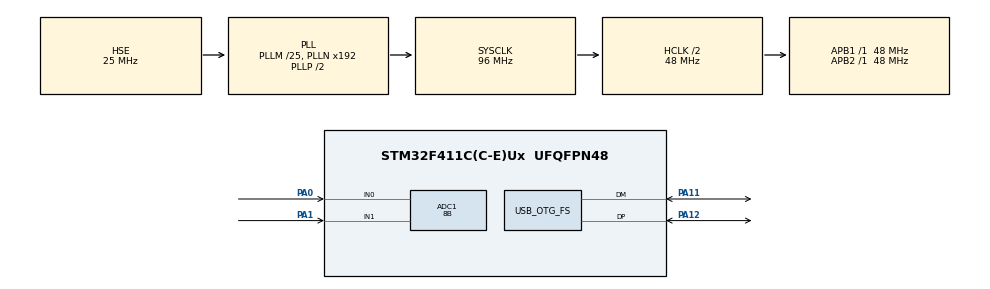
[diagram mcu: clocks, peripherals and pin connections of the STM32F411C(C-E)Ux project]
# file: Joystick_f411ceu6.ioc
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ADC1.Channel-0\#ChannelRegularConversion=ADC_CHANNEL_0
ADC1.Channel-1\#ChannelRegularConversion=ADC_CHANNEL_1
ADC1.ClockPrescaler=ADC_CLOCK_SYNC_PCLK_DIV8
ADC1.ContinuousConvMode=ENABLE
ADC1.DMAContinuousRequests=ENABLE
ADC1.EOCSelection=ADC_EOC_SEQ_CONV
ADC1.NbrOfConversion=2
ADC1.NbrOfConversionFlag=1
ADC1.Rank-0\#ChannelRegularConversion=1
ADC1.Rank-1\#ChannelRegularConversion=2
ADC1.Resolution=ADC_RESOLUTION_8B
ADC1.SamplingTime-0\#ChannelRegularConversion=ADC_SAMPLETIME_480CYCLES
ADC1.SamplingTime-1\#ChannelRegularConversion=ADC_SAMPLETIME_480CYCLES
ADC1.ScanConvMode=ENABLE
ADC1.master=1
Dma.ADC1.0.Direction=DMA_PERIPH_TO_MEMORY
Dma.ADC1.0.FIFOMode=DMA_FIFOMODE_DISABLE
Dma.ADC1.0.Instance=DMA2_Stream0
Dma.ADC1.0.MemDataAlignment=DMA_MDATAALIGN_BYTE
Dma.ADC1.0.MemInc=DMA_MINC_ENABLE
Dma.ADC1.0.Mode=DMA_CIRCULAR
Dma.ADC1.0.PeriphDataAlignment=DMA_PDATAALIGN_BYTE
Dma.ADC1.0.PeriphInc=DMA_PINC_DISABLE
Dma.ADC1.0.Priority=DMA_PRIORITY_LOW
Dma.Request0=ADC1
Mcu.Family=STM32F4
Mcu.Name=STM32F411C(C-E)Ux
Mcu.Package=UFQFPN48
NVIC.DMA2_Stream0_IRQn=true\:0\:0\:false\:false\:true\:false\:true\:true
NVIC.OTG_FS_IRQn=true\:0\:0\:false\:false\:true\:false\:true\:true
NVIC.PriorityGroup=NVIC_PRIORITYGROUP_4
PA0-WKUP.Signal=ADCx_IN0
PA1.Signal=ADCx_IN1
PA11.Mode=Device_Only
PA11.Signal=USB_OTG_FS_DM
PA12.Mode=Device_Only
PA12.Signal=USB_OTG_FS_DP
PA13.Mode=Serial_Wire
PA13.Signal=SYS_JTMS-SWDIO
PA14.Mode=Serial_Wire
PA14.Signal=SYS_JTCK-SWCLK
PH0\ -\ OSC_IN.Mode=HSE-External-Oscillator
PH0\ -\ OSC_IN.Signal=RCC_OSC_IN
PH1\ -\ OSC_OUT.Mode=HSE-External-Oscillator
PH1\ -\ OSC_OUT.Signal=RCC_OSC_OUT
ProjectManager.HeapSize=0x200
ProjectManager.StackSize=0x400
ProjectManager.TargetToolchain=STM32CubeIDE
RCC.48MHZClocksFreq_Value=48000000
RCC.AHBCLKDivider=RCC_SYSCLK_DIV2
RCC.AHBFreq_Value=48000000
RCC.APB1Freq_Value=48000000
RCC.APB1TimFreq_Value=48000000
RCC.APB2Freq_Value=48000000
RCC.APB2TimFreq_Value=48000000
RCC.CortexFreq_Value=48000000
RCC.HCLKFreq_Value=48000000
RCC.HSE_VALUE=25000000
RCC.HSI_VALUE=16000000
RCC.LSE_VALUE=32768
RCC.PLLM=25
RCC.SYSCLKFreq_VALUE=96000000
RCC.SYSCLKSource=RCC_SYSCLKSOURCE_PLLCLK
RCC.VCOOutputFreq_Value=192000000
SH.ADCx_IN0.0=ADC1_IN0,IN0
SH.ADCx_IN1.0=ADC1_IN1,IN1
USB_DEVICE.CLASS_NAME_FS=HID
USB_DEVICE.VirtualMode=Hid
USB_DEVICE.VirtualModeFS=Hid_FS
USB_OTG_FS.VirtualMode=Device_Only
VP_USB_DEVICE_VS_USB_DEVICE_HID_FS.Mode=HID_FS
board=custom

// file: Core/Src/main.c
/* USER CODE BEGIN Header */
/**
  ******************************************************************************
  * @file           : main.c
  * @brief          : Main program body
  ******************************************************************************
  * @attention
  *
  * Copyright (c) 2026 STMicroelectronics.
  * All rights reserved.
  *
  * This software is licensed under terms that can be found in the LICENSE file
  * in the root directory of this software component.
  * If no LICENSE file comes with this software, it is provided AS-IS.
  *
  ******************************************************************************
  */
/* USER CODE END Header */
#include "main.h"
#include "usb_device.h"

/* USER CODE BEGIN Includes */
#include "usbd_hid.h"
/* USER CODE END Includes */

/* USER CODE BEGIN PD */
//#define HID_MOUSE_REPORT_DESC_SIZE    43U
//#define HID_EPIN_SIZE                 0x03U
#define CENTER_X       125  // ~1.5V on 8-bit ADC (Adjust using Live Expressions)
#define CENTER_Y       125  // ~1.5V on 8-bit ADC (Adjust using Live Expressions)
#define DEADZONE       20   // Ignore movements smaller than this to prevent drift
#define SPEED_DIVIDER  6

/* USER CODE END PD */

ADC_HandleTypeDef hadc1;
DMA_HandleTypeDef hdma_adc1;

void SystemClock_Config(void);
static void MX_GPIO_Init(void);
static void MX_DMA_Init(void);
static void MX_ADC1_Init(void);

/* USER CODE BEGIN 0 */
extern USBD_HandleTypeDef hUsbDeviceFS;
uint8_t HID_Buffer[4] = {127, 127, 0};
uint8_t ADC_Val[2];
uint8_t Mouse_Buffer[3];
/* ADC DMA complete callback */
void HAL_ADC_ConvCpltCallback(ADC_HandleTypeDef *hadc)
{
	if (hadc->Instance == ADC1)
	{
		HID_Buffer[0] = 1;                    // REPORT ID 1 (Gamepad)
		HID_Buffer[1] = (255 - ADC_Val[0]);   // X axis
		HID_Buffer[2] = ADC_Val[1];           // Y axis
		HID_Buffer[3] = 0;                    // No button used, keep at 0
	}
}

void HID_Send_Gamepad(uint8_t x_val, uint8_t y_val, uint8_t button)
{
    uint8_t report[4]; // 4 bytes now
    report[0] = 1;       // Report ID 1
    report[1] = (255 - ADC_Val[0]);
    report[2] = ADC_Val[1];
    report[3] = button;

    USBD_HID_SendReport(&hUsbDeviceFS, report, 4);
}

void HID_Send_Mouse(int8_t dx, int8_t dy, uint8_t buttons)
{
    uint8_t report[5]; // 5 bytes
    report[0] = 2;       // Report ID 2
    report[1] = buttons;
    report[2] = (255 - ADC_Val[0]);//(uint8_t)dx;
    report[3] = ADC_Val[1];//(uint8_t)dy;
    report[4] = 0;       // Wheel

    USBD_HID_SendReport(&hUsbDeviceFS, report, 5);
}
/* USER CODE END 0 */

int main(void)
{

  /* MCU Configuration--------------------------------------------------------*/

  /* Reset of all peripherals, Initializes the Flash interface and the Systick. */
  HAL_Init();

  /* Configure the system clock */
  SystemClock_Config();

  /* Initialize all configured peripherals */
  MX_GPIO_Init();
  MX_DMA_Init();
  MX_ADC1_Init();
  MX_USB_DEVICE_Init();
  /* USER CODE BEGIN 2 */
//  int x=0,y=250;
  /* Start ADC in DMA mode — 2 conversions */
  HAL_ADC_Start_DMA(&hadc1, (uint32_t *)ADC_Val, 2);
  uint32_t last_usb_time = 0;
  /* USER CODE END 2 */

  /* Infinite loop */
  while (1)
  {

    /* USER CODE BEGIN 3 */

	  if (HAL_GetTick() - last_usb_time >= 10)
	  {
		  last_usb_time = HAL_GetTick();

		  // SAFETY CHECK: If ADC reads 0, DMA is not transferring! Stop mouse movement.
		  if (ADC_Val[0] == 0 && ADC_Val[1] == 0)
		  {
			  Mouse_Buffer[0] = 0;
			  Mouse_Buffer[1] = 0;
			  Mouse_Buffer[2] = 0;
			  USBD_HID_SendReport(&hUsbDeviceFS, Mouse_Buffer, 3);
			  continue;
		  }

		  /* 1. Calculate distance from physical 1.5V center */
		  int16_t x_val = (CENTER_X - (int16_t)ADC_Val[0]);
		  int16_t y_val = (int16_t)ADC_Val[1] - CENTER_Y;

		  /* 2. Apply Deadzone */
		  if (x_val > -DEADZONE && x_val < DEADZONE) {
			  x_val = 0;
		  }
		  if (y_val > -DEADZONE && y_val < DEADZONE) {
			  y_val = 0;
		  }

		  /* 3. Scale down raw values for usable cursor speed */
		  int8_t mouse_x_speed = (int8_t)(x_val / SPEED_DIVIDER);
		  int8_t mouse_y_speed = (int8_t)(y_val / SPEED_DIVIDER);

		  /* 4. Populate 3-Byte Buffer */
		  Mouse_Buffer[0] = 0;               // No buttons pressed
		  Mouse_Buffer[1] = mouse_x_speed;   // Delta X
		  Mouse_Buffer[2] = mouse_y_speed;   // Delta Y

		  /* 5. Transmit to PC */
		  USBD_HID_SendReport(&hUsbDeviceFS, Mouse_Buffer, 3);

		  HAL_Delay(100);
	  }
  }
  /* USER CODE END 3 */
}

void SystemClock_Config(void)
{
  RCC_OscInitTypeDef RCC_OscInitStruct = {0};
  RCC_ClkInitTypeDef RCC_ClkInitStruct = {0};

  /** Configure the main internal regulator output voltage
  */
  __HAL_RCC_PWR_CLK_ENABLE();
  __HAL_PWR_VOLTAGESCALING_CONFIG(PWR_REGULATOR_VOLTAGE_SCALE1);

  /** Initializes the RCC Oscillators according to the specified parameters
  * in the RCC_OscInitTypeDef structure.
  */
  RCC_OscInitStruct.OscillatorType = RCC_OSCILLATORTYPE_HSE;
  RCC_OscInitStruct.HSEState = RCC_HSE_ON;
  RCC_OscInitStruct.PLL.PLLState = RCC_PLL_ON;
  RCC_OscInitStruct.PLL.PLLSource = RCC_PLLSOURCE_HSE;
  RCC_OscInitStruct.PLL.PLLM = 25;
  RCC_OscInitStruct.PLL.PLLN = 192;
  RCC_OscInitStruct.PLL.PLLP = RCC_PLLP_DIV2;
  RCC_OscInitStruct.PLL.PLLQ = 4;
  if (HAL_RCC_OscConfig(&RCC_OscInitStruct) != HAL_OK)
  {
    Error_Handler();
  }

  /** Initializes the CPU, AHB and APB buses clocks
  */
  RCC_ClkInitStruct.ClockType = RCC_CLOCKTYPE_HCLK|RCC_CLOCKTYPE_SYSCLK
                              |RCC_CLOCKTYPE_PCLK1|RCC_CLOCKTYPE_PCLK2;
  RCC_ClkInitStruct.SYSCLKSource = RCC_SYSCLKSOURCE_PLLCLK;
  RCC_ClkInitStruct.AHBCLKDivider = RCC_SYSCLK_DIV2;
  RCC_ClkInitStruct.APB1CLKDivider = RCC_HCLK_DIV1;
  RCC_ClkInitStruct.APB2CLKDivider = RCC_HCLK_DIV1;

  if (HAL_RCC_ClockConfig(&RCC_ClkInitStruct, FLASH_LATENCY_1) != HAL_OK)
  {
    Error_Handler();
  }
}

static void MX_ADC1_Init(void)
{

  ADC_ChannelConfTypeDef sConfig = {0};

  /** Configure the global features of the ADC (Clock, Resolution, Data Alignment and number of conversion)
  */
  hadc1.Instance = ADC1;
  hadc1.Init.ClockPrescaler = ADC_CLOCK_SYNC_PCLK_DIV8;
  hadc1.Init.Resolution = ADC_RESOLUTION_8B;
  hadc1.Init.ScanConvMode = ENABLE;
  hadc1.Init.ContinuousConvMode = ENABLE;
  hadc1.Init.DiscontinuousConvMode = DISABLE;
  hadc1.Init.ExternalTrigConvEdge = ADC_EXTERNALTRIGCONVEDGE_NONE;
  hadc1.Init.ExternalTrigConv = ADC_SOFTWARE_START;
  hadc1.Init.DataAlign = ADC_DATAALIGN_RIGHT;
  hadc1.Init.NbrOfConversion = 2;
  hadc1.Init.DMAContinuousRequests = ENABLE;
  hadc1.Init.EOCSelection = ADC_EOC_SEQ_CONV;
  if (HAL_ADC_Init(&hadc1) != HAL_OK)
  {
    Error_Handler();
  }

  /** Configure for the selected ADC regular channel its corresponding rank in the sequencer and its sample time.
  */
  sConfig.Channel = ADC_CHANNEL_0;
  sConfig.Rank = 1;
  sConfig.SamplingTime = ADC_SAMPLETIME_480CYCLES;
  if (HAL_ADC_ConfigChannel(&hadc1, &sConfig) != HAL_OK)
  {
    Error_Handler();
  }

  /** Configure for the selected ADC regular channel its corresponding rank in the sequencer and its sample time.
  */
  sConfig.Channel = ADC_CHANNEL_1;
  sConfig.Rank = 2;
  if (HAL_ADC_ConfigChannel(&hadc1, &sConfig) != HAL_OK)
  {
    Error_Handler();
  }

}

static void MX_DMA_Init(void)
{

  /* DMA controller clock enable */
  __HAL_RCC_DMA2_CLK_ENABLE();

  /* DMA interrupt init */
  /* DMA2_Stream0_IRQn interrupt configuration */
  HAL_NVIC_SetPriority(DMA2_Stream0_IRQn, 0, 0);
  HAL_NVIC_EnableIRQ(DMA2_Stream0_IRQn);

}

static void MX_GPIO_Init(void)
{

  /* GPIO Ports Clock Enable */
  __HAL_RCC_GPIOH_CLK_ENABLE();
  __HAL_RCC_GPIOA_CLK_ENABLE();

}

void Error_Handler(void)
{
  __disable_irq();
  while (1)
  {
  }
}
